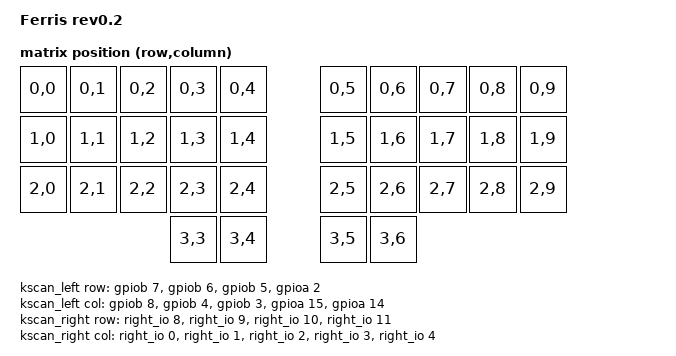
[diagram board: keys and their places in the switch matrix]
/*
 * Copyright (c) 2020 The ZMK Contributors
 *
 * SPDX-License-Identifier: MIT
 */

/dts-v1/;
#include <st/f0/stm32f072Xb.dtsi>
#include <st/f0/stm32f072v(8-b)tx-pinctrl.dtsi>

#include <dt-bindings/zmk/matrix_transform.h>

/ {
    model = "Ferris rev0.2";
    compatible = "ferris,rev02", "st,stm32f072";

    chosen {
        zephyr,sram = &sram0;
        zephyr,flash = &flash0;
        zmk,kscan = &kscan;
        zmk,matrix-transform = &transform;
        /* TODO: Enable once we support the IC for underglow
        zmk,underglow = &led_strip;
         */
    };

    transform: transform {
        compatible = "zmk,matrix-transform";
        rows = <4>;
        columns = <10>;

        map = <
        RC(0,0) RC(0,1) RC(0,2) RC(0,3) RC(0,4)     RC(0,5) RC(0,6) RC(0,7) RC(0,8) RC(0,9)
        RC(1,0) RC(1,1) RC(1,2) RC(1,3) RC(1,4)     RC(1,5) RC(1,6) RC(1,7) RC(1,8) RC(1,9)
        RC(2,0) RC(2,1) RC(2,2) RC(2,3) RC(2,4)     RC(2,5) RC(2,6) RC(2,7) RC(2,8) RC(2,9)
        RC(3,3)  RC(3,4)     RC(3,5) RC(3,6)
        >;
    };

    kscan: kscan {
        compatible = "zmk,kscan-composite";
        rows = <4>;
        columns = <10>;

        left {
            kscan = <&kscan_left>;
        };

        right {
            kscan = <&kscan_right>;
            column-offset = <5>;
        };
    };

    kscan_left: kscan_left {
        compatible = "zmk,kscan-gpio-matrix";

        diode-direction = "col2row";

        col-gpios
        = <&gpiob 8 (GPIO_ACTIVE_HIGH)>
        , <&gpiob 4 (GPIO_ACTIVE_HIGH)>
        , <&gpiob 3 (GPIO_ACTIVE_HIGH)>
        , <&gpioa 15 (GPIO_ACTIVE_HIGH)>
        , <&gpioa 14 (GPIO_ACTIVE_HIGH)>
        ;
        row-gpios
        = <&gpiob 7  (GPIO_ACTIVE_HIGH | GPIO_PULL_DOWN)>
        , <&gpiob 6  (GPIO_ACTIVE_HIGH | GPIO_PULL_DOWN)>
        , <&gpiob 5 (GPIO_ACTIVE_HIGH | GPIO_PULL_DOWN)>
        , <&gpioa 2 (GPIO_ACTIVE_HIGH | GPIO_PULL_DOWN)>
        ;
    };

    kscan_right: kscan_right {
        compatible = "zmk,kscan-gpio-matrix";

        diode-direction = "row2col";

        col-gpios
        = <&right_io 0 (GPIO_ACTIVE_LOW | GPIO_PULL_UP)>
        , <&right_io 1 (GPIO_ACTIVE_LOW | GPIO_PULL_UP)>
        , <&right_io 2 (GPIO_ACTIVE_LOW | GPIO_PULL_UP)>
        , <&right_io 3 (GPIO_ACTIVE_LOW | GPIO_PULL_UP)>
        , <&right_io 4 (GPIO_ACTIVE_LOW | GPIO_PULL_UP)>
        ;
        row-gpios
        = <&right_io 8  (GPIO_ACTIVE_LOW)>
        , <&right_io 9  (GPIO_ACTIVE_LOW)>
        , <&right_io 10 (GPIO_ACTIVE_LOW)>
        , <&right_io 11 (GPIO_ACTIVE_LOW)>
        ;
    };
};

&i2c2 {
    pinctrl-0 = <&i2c2_scl_pb10 &i2c2_sda_pb11>;
    pinctrl-names = "default";
    status = "okay";
    clock-frequency = <I2C_BITRATE_FAST>;

    right_io: mcp23017@20 {
        compatible = "microchip,mcp230xx";
        status = "okay";
        gpio-controller;
        reg = <0x20>;
        #gpio-cells = <2>;
        ngpios = <16>;
    };
};

zephyr_udc0: &usb {
    status = "okay";

    pinctrl-0 = <&usb_dm_pa11 &usb_dp_pa12>;
    pinctrl-names = "default";
};

&clk_hsi {
    status = "okay";
};

&clk_hsi48 {
    status = "okay";
};

&pll {
    prediv = <1>;
    mul = <6>;
    clocks = <&clk_hsi>;
    status = "okay";
};

&rcc {
    clocks = <&pll>;
    clock-frequency = <DT_FREQ_M(48)>;
    ahb-prescaler = <1>;
    apb1-prescaler = <1>;
};


&rtc {
    status = "okay";
};

&flash0 {
    /*
     * For more information, see:
     * http: //docs.zephyrproject.org/latest/guides/dts/index.html#flash-partitions
     */
    partitions {
        compatible = "fixed-partitions";
        #address-cells = <1>;
        #size-cells = <1>;

        /* Set 6Kb of storage at the end of the 128Kb of flash */
        storage_partition: partition@3e800 {
            reg = <0x0001e800 0x00001800>;
        };
    };
};
